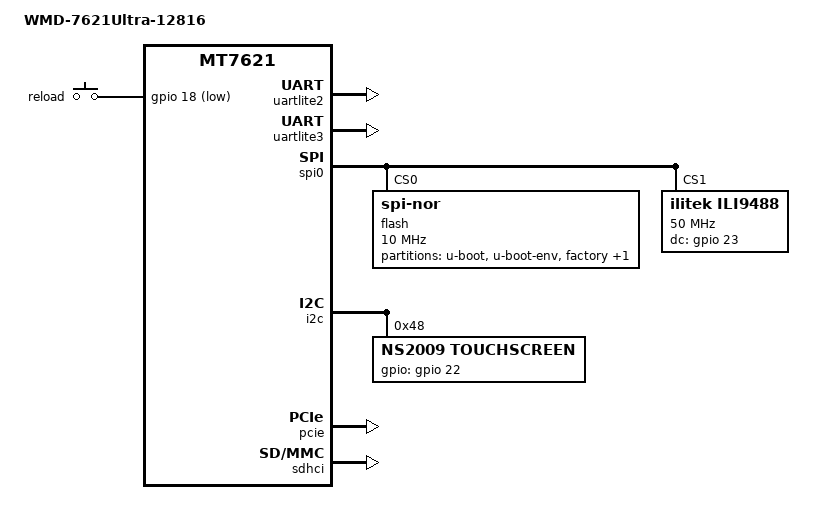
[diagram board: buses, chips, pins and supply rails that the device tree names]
#include "mt7621.dtsi"

#include <dt-bindings/gpio/gpio.h>
#include <dt-bindings/input/input.h>

/ {
	compatible = "wooya,wms-7621a", "mediatek,mt7621-soc";
	model = "WMD-7621Ultra-12816";

	chosen {
		bootargs = "console=ttyS0,57600";
	};

	keys {
		compatible = "gpio-keys";
		reload {
			label = "reload";
			gpios = <&gpio 18 GPIO_ACTIVE_LOW>;
			linux,code = <KEY_RESTART>;
		};
	};
};

&uartlite2 {
	status = "okay";
};

&uartlite3 {
	status = "okay";
};

&spi0 {
	status = "okay";

	flash@0 {
		compatible = "jedec,spi-nor";
		reg = <0>;
		spi-max-frequency = <10000000>;

		partitions {
			compatible = "fixed-partitions";
			#address-cells = <1>;
			#size-cells = <1>;

			partition@0 {
				label = "u-boot";
				reg = <0x0 0x30000>;
				read-only;
			};

			partition@30000 {
				label = "u-boot-env";
				reg = <0x30000 0x10000>;
				read-only;
			};

			factory: partition@40000 {
				label = "factory";
				reg = <0x40000 0x10000>;
				read-only;
			};

			partition@50000 {
				compatible = "denx,uimage";
				label = "firmware";
				reg = <0x50000 0xfb0000>;
			};
		};
	};

	
	ili9488@1 {
		status = "okay";
		compatible = "ilitek,ili9488";
		reg = <1 0>;
		rotate = <270>;
		spi-max-frequency = <50000000>;
		fps = <60>;
		buswidth = <8>;
		regwidth = <8>;
		dc-gpios = <&gpio 23 0>;
		debug = <0>;
	};
};

&i2c {
	status = "okay";
	ns2009@900 {
		compatible = "NS2009,TOUCHSCREEN";
		reg = <0x48>;
		gpios = <&gpio 22 0>;
		ti,x-plate-ohms = <18>;
		ti,poll-period = <10>;
	};
};

&pcie {
	status = "okay";
};

&pcie0 {
	mt76@0,0 {
		reg = <0x0000 0 0 0 0>;
		mediatek,mtd-eeprom = <&factory 0x0000>;
	};
};

&pcie1 {
	mt76@0,0 {
		reg = <0x0000 0 0 0 0>;
		mediatek,mtd-eeprom = <&factory 0x8000>;
		ieee80211-freq-limit = <5000000 6000000>;
	};
};

&gmac0 {
	nvmem-cells = <&macaddr_factory_e000>;
	nvmem-cell-names = "mac-address";
};

&switch0 {
	ports {
		port@0 {
			status = "okay";
			label = "wan";
			nvmem-cells = <&macaddr_factory_e006>;
			nvmem-cell-names = "mac-address";
		};

		port@1 {
			status = "okay";
			label = "lan1";
		};

		port@2 {
			status = "okay";
			label = "lan2";
		};

		port@3 {
			status = "okay";
			label = "lan3";
		};
		port@4 {
			status = "okay";
			label = "lan4";
		};
	};
};

&state_default {
	gpio {
		groups = "gpio", "wdt", "rgmii2", "jtag";
		function = "gpio";
	};
};

&factory {
	compatible = "nvmem-cells";
	#address-cells = <1>;
	#size-cells = <1>;

	macaddr_factory_e000: macaddr@e000 {
		reg = <0xe000 0x6>;
	};

	macaddr_factory_e006: macaddr@e006 {
		reg = <0xe006 0x6>;
	};
};

&sdhci {
	status = "okay";
};
